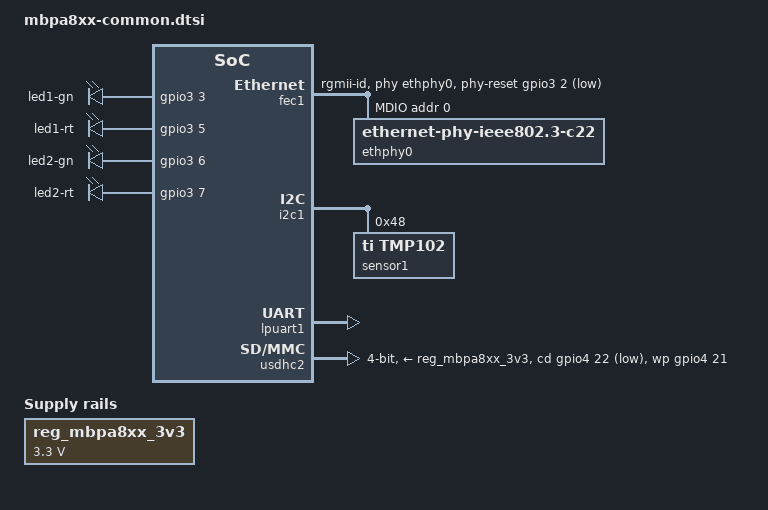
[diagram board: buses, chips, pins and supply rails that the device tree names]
/*
 * Copyright 2019 TQ Systems GmbH
 * Markus Niebel
 *
 * This program is free software; you can redistribute it and/or
 * modify it under the terms of the GNU General Public License
 * as published by the Free Software Foundation; either version 2
 * of the License, or (at your option) any later version.
 *
 * This program is distributed in the hope that it will be useful,
 * but WITHOUT ANY WARRANTY; without even the implied warranty of
 * MERCHANTABILITY or FITNESS FOR A PARTICULAR PURPOSE.  See the
 * GNU General Public License for more details.
 */

#include <dt-bindings/net/ti-dp83867.h>

/ {
	chosen {
		bootargs = "console=ttyLP1,115200 earlycon=lpuart32,0x5a070000,115200";
		stdout-path = &lpuart1;
	};

	leds {
		compatible = "gpio-leds";
		pinctrl-names = "default";
		pinctrl-0 = <&pinctrl_led>;
		status = "okay";

		led1_gn {
			label = "led1-gn";
			gpios = <&gpio3 3 GPIO_ACTIVE_HIGH>;
			linux,default-trigger = "heartbeat";
		};

		led1_rt {
			label = "led1-rt";
			gpios = <&gpio3 5 GPIO_ACTIVE_HIGH>;
			linux,default-trigger = "default-on";
		};

		led2_gn {
			label = "led2-gn";
			gpios = <&gpio3 6 GPIO_ACTIVE_HIGH>;
			linux,default-trigger = "default-on";
		};

		led2_rt {
			label = "led2-rt";
			gpios = <&gpio3 7 GPIO_ACTIVE_HIGH>;
			linux,default-trigger = "default-on";
		};
	};

	reg_mbpa8xx_3v3: mbpa8xx_3v3 {
		compatible = "regulator-fixed";
		regulator-name = "SD1_SPWR";
		regulator-min-microvolt = <3300000>;
		regulator-max-microvolt = <3300000>;
		status = "okay";
	};
};

&iomuxc {
	pinctrl-names = "default";
	pinctrl-0 = <&pinctrl_hog>;

	tqma8xx-mbpa8xx {
		pinctrl_fec1: fec1grp {
			fsl,pins = <
				SC_P_ENET0_MDC_CONN_ENET0_MDC			0x06000048
				SC_P_ENET0_MDIO_CONN_ENET0_MDIO			0x06000048
				SC_P_ENET0_RGMII_TX_CTL_CONN_ENET0_RGMII_TX_CTL	0x06000048
				SC_P_ENET0_RGMII_TXC_CONN_ENET0_RGMII_TXC	0x06000048
				SC_P_ENET0_RGMII_TXD0_CONN_ENET0_RGMII_TXD0	0x06000048
				SC_P_ENET0_RGMII_TXD1_CONN_ENET0_RGMII_TXD1	0x06000048
				SC_P_ENET0_RGMII_TXD2_CONN_ENET0_RGMII_TXD2	0x06000048
				SC_P_ENET0_RGMII_TXD3_CONN_ENET0_RGMII_TXD3	0x06000048
				SC_P_ENET0_RGMII_RXC_CONN_ENET0_RGMII_RXC	0x06000048
				SC_P_ENET0_RGMII_RX_CTL_CONN_ENET0_RGMII_RX_CTL	0x06000048
				SC_P_ENET0_RGMII_RXD0_CONN_ENET0_RGMII_RXD0	0x06000048
				SC_P_ENET0_RGMII_RXD1_CONN_ENET0_RGMII_RXD1	0x06000048
				SC_P_ENET0_RGMII_RXD2_CONN_ENET0_RGMII_RXD2	0x06000048
				SC_P_ENET0_RGMII_RXD3_CONN_ENET0_RGMII_RXD3	0x06000048

				SC_P_CSI_EN_LSIO_GPIO3_IO02			0x06000048
			>;
		};

		pinctrl_hog: hoggrp {
			fsl,pins = <
				/* Rev detect */
				SC_P_SPI2_CS0_LSIO_GPIO1_IO00			0x06000021
				SC_P_SPI2_SDO_LSIO_GPIO1_IO01			0x06000021
				SC_P_SPI2_SDI_LSIO_GPIO1_IO02			0x06000021
			>;
		};

		pinctrl_led: ledggrp {
			fsl,pins = <
				SC_P_CSI_RESET_LSIO_GPIO3_IO03			0x06000048
				SC_P_MIPI_CSI0_I2C0_SCL_LSIO_GPIO3_IO05		0x06000048
				SC_P_MIPI_CSI0_I2C0_SDA_LSIO_GPIO3_IO06		0x06000048
				SC_P_MIPI_CSI0_GPIO0_01_LSIO_GPIO3_IO07		0x06000048
			>;
		};

		pinctrl_lpuart1: lpuart1grp {
			fsl,pins = <
				SC_P_UART1_RX_ADMA_UART1_RX		0x06000020
				SC_P_UART1_TX_ADMA_UART1_TX		0x06000020
			>;
		};

		pinctrl_usdhc2_gpio: usdhc2gpiogrp {
			fsl,pins = <
				SC_P_USDHC1_RESET_B_LSIO_GPIO4_IO19	0x06000021
				SC_P_USDHC1_WP_LSIO_GPIO4_IO21		0x06000021
				SC_P_USDHC1_CD_B_LSIO_GPIO4_IO22	0x06000021
			>;
		};

		pinctrl_usdhc2: usdhc2grp {
			fsl,pins = <
				SC_P_USDHC1_CLK_CONN_USDHC1_CLK		0x06000041
				SC_P_USDHC1_CMD_CONN_USDHC1_CMD		0x06000021
				SC_P_USDHC1_DATA0_CONN_USDHC1_DATA0	0x06000021
				SC_P_USDHC1_DATA1_CONN_USDHC1_DATA1	0x06000021
				SC_P_USDHC1_DATA2_CONN_USDHC1_DATA2	0x06000021
				SC_P_USDHC1_DATA3_CONN_USDHC1_DATA3	0x06000021
				SC_P_USDHC1_VSELECT_CONN_USDHC1_VSELECT	0x06000021
			>;
		};

		pinctrl_usdhc2_100mhz: usdhc2grp100mhz {
			fsl,pins = <
				SC_P_USDHC1_CLK_CONN_USDHC1_CLK		0x06000040
				SC_P_USDHC1_CMD_CONN_USDHC1_CMD		0x06000020
				SC_P_USDHC1_DATA0_CONN_USDHC1_DATA0	0x06000020
				SC_P_USDHC1_DATA1_CONN_USDHC1_DATA1	0x06000020
				SC_P_USDHC1_DATA2_CONN_USDHC1_DATA2	0x06000020
				SC_P_USDHC1_DATA3_CONN_USDHC1_DATA3	0x06000020
				SC_P_USDHC1_VSELECT_CONN_USDHC1_VSELECT	0x06000020
			>;
		};

		pinctrl_usdhc2_200mhz: usdhc2grp200mhz {
			fsl,pins = <
				SC_P_USDHC1_CLK_CONN_USDHC1_CLK		0x06000040
				SC_P_USDHC1_CMD_CONN_USDHC1_CMD		0x06000020
				SC_P_USDHC1_DATA0_CONN_USDHC1_DATA0	0x06000020
				SC_P_USDHC1_DATA1_CONN_USDHC1_DATA1	0x06000020
				SC_P_USDHC1_DATA2_CONN_USDHC1_DATA2	0x06000020
				SC_P_USDHC1_DATA3_CONN_USDHC1_DATA3	0x06000020
				SC_P_USDHC1_VSELECT_CONN_USDHC1_VSELECT	0x06000020
			>;
		};
	};
};

&fec1 {
	pinctrl-names = "default";
	pinctrl-0 = <&pinctrl_fec1>;
	phy-mode = "rgmii-id";
	phy-handle = <&ethphy0>;
	phy-reset-gpios = <&gpio3 2 GPIO_ACTIVE_LOW>;
	phy-reset-duration = <500>;
	fsl,magic-packet;
	mac-address = [ 00 00 00 00 00 00 ];
	local-mac-address = [ 00 00 00 00 00 00 ];
	status = "okay";

	mdio {
		#address-cells = <1>;
		#size-cells = <0>;

		ethphy0: ethernet-phy@0 {
			compatible = "ethernet-phy-ieee802.3-c22";
			reg = <0>;
			ti,rx-internal-delay = <DP83867_RGMIIDCTL_2_25_NS>;
			ti,tx-internal-delay = <DP83867_RGMIIDCTL_2_25_NS>;
			ti,dp83867-rxctrl-strap-quirk;
			ti,led-cfg1 = <0xc100>; /* LED1: Link, LED2: activity */
			ti,led-cfg2 = <0x1001>; /* active low, LED1/2 driven by phy */
		};
	};
};

&i2c1 {
	sensor1: tmp102@48 {
		compatible = "ti,tmp102";
		reg = <0x48>;
		status = "okay";
	};
};

&lpuart1 {
	pinctrl-names = "default";
	pinctrl-0 = <&pinctrl_lpuart1>;
	status = "okay";
};

&pd_dma_lpuart1 {
	debug_console;
};

&usdhc2 {
	pinctrl-names = "default", "state_100mhz", "state_200mhz";
	pinctrl-0 = <&pinctrl_usdhc2>, <&pinctrl_usdhc2_gpio>;
	pinctrl-1 = <&pinctrl_usdhc2_100mhz>, <&pinctrl_usdhc2_gpio>;
	pinctrl-2 = <&pinctrl_usdhc2_200mhz>, <&pinctrl_usdhc2_gpio>;
	bus-width = <4>;
	cd-gpios = <&gpio4 22 GPIO_ACTIVE_LOW>;
	wp-gpios = <&gpio4 21 GPIO_ACTIVE_HIGH>;
	vmmc-supply = <&reg_mbpa8xx_3v3>;
	status = "okay";
};
